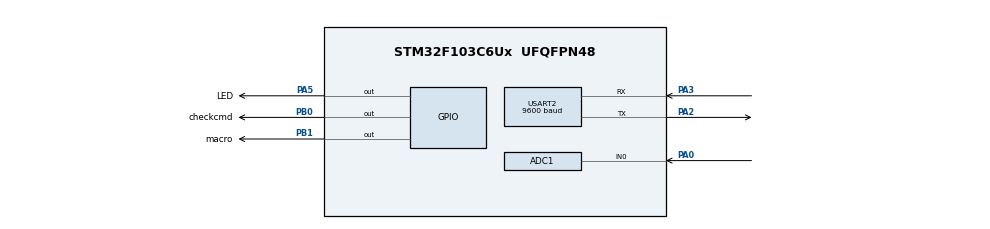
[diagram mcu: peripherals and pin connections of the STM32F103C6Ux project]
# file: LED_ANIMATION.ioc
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ADC1.Channel-0\#ChannelRegularConversion=ADC_CHANNEL_0
ADC1.ContinuousConvMode=ENABLE
ADC1.NbrOfConversionFlag=1
ADC1.Rank-0\#ChannelRegularConversion=1
ADC1.SamplingTime-0\#ChannelRegularConversion=ADC_SAMPLETIME_1CYCLE_5
ADC1.master=1
Mcu.Family=STM32F1
Mcu.Name=STM32F103C6Ux
Mcu.Package=UFQFPN48
NVIC.PriorityGroup=NVIC_PRIORITYGROUP_4
NVIC.TIM2_IRQn=true\:0\:0\:false\:false\:true\:true\:true
NVIC.USART2_IRQn=true\:0\:0\:false\:false\:true\:true\:true
PA0-WKUP.Signal=ADCx_IN0
PA2.Mode=Asynchronous
PA2.Signal=USART2_TX
PA3.Mode=Asynchronous
PA3.Signal=USART2_RX
PA5.GPIO_Label=LED
PA5.Signal=GPIO_Output
PB0.GPIO_Label=checkcmd
PB0.Signal=GPIO_Output
PB1.GPIO_Label=macro
PB1.Signal=GPIO_Output
ProjectManager.HeapSize=0x200
ProjectManager.StackSize=0x400
ProjectManager.TargetToolchain=STM32CubeIDE
RCC.APB1Freq_Value=8000000
RCC.APB2Freq_Value=8000000
SH.ADCx_IN0.0=ADC1_IN0,IN0
TIM2.Period=9
TIM2.Prescaler=7999
USART2.BaudRate=9600
USART2.VirtualMode=VM_ASYNC
VP_SYS_VS_ND.Mode=No_Debug
VP_TIM2_VS_ClockSourceINT.Mode=Internal
board=custom

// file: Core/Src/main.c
/* USER CODE BEGIN Header */
/**
  ******************************************************************************
  * @file           : main.c
  * @brief          : Main program body
  ******************************************************************************
  * @attention
  *
  * <h2><center>&copy; Copyright (c) 2023 STMicroelectronics.
  * All rights reserved.</center></h2>
  *
  * This software component is licensed by ST under BSD 3-Clause license,
  * the "License"; You may not use this file except in compliance with the
  * License. You may obtain a copy of the License at:
  *                        opensource.org/licenses/BSD-3-Clause
  *
  ******************************************************************************
  */
/* USER CODE END Header */
#include "main.h"

/* USER CODE BEGIN Includes */
//#include "input_reading.h"
#include "scheduler.h"
#include "fsm.h"
#include <stdio.h>
//#include "button.h"
#include "global.h"
#include "timer.h"
/* USER CODE END Includes */

ADC_HandleTypeDef hadc1;

TIM_HandleTypeDef htim2;

UART_HandleTypeDef huart2;

void SystemClock_Config(void);
static void MX_GPIO_Init(void);
static void MX_TIM2_Init(void);
static void MX_USART2_UART_Init(void);
static void MX_ADC1_Init(void);

/* USER CODE BEGIN 0 */

//void button(){
//	getKeyInput();
//	if(is_Pressed()){
//		HAL_GPIO_TogglePin(GPIOA, LED_BUTTON_Pin);
//	}
//}
//
//void led0_5s(){
//	HAL_GPIO_TogglePin(GPIOB, normal_Pin);
//}
//
//void led1s(){
//	HAL_GPIO_TogglePin(GPIOA, LED_1S_Pin);
//}
//
//void led1_5s(){
//	HAL_GPIO_TogglePin(GPIOA, LED_1_5S_Pin);
//}
//
//void led2s(){
//	HAL_GPIO_TogglePin(GPIOA, LED_2S_Pin);
//}
//
//void led2_5s(){
//	HAL_GPIO_WritePin(GPIOA, LED_2_5S_ONESHOT_Pin, 0);
//}

void fsm(){
	if(isFlag()){
		HAL_GPIO_TogglePin(GPIOA, LED_Pin);
		command_parsel_fsm();
		resetFlag();
	}
	uart_communiation_fsm();
}

/* USER CODE END 0 */

int main(void)
{

  /* MCU Configuration--------------------------------------------------------*/

  /* Reset of all peripherals, Initializes the Flash interface and the Systick. */
  HAL_Init();

  /* Configure the system clock */
  SystemClock_Config();

  /* Initialize all configured peripherals */
  MX_GPIO_Init();
  MX_TIM2_Init();
  MX_USART2_UART_Init();
  MX_ADC1_Init();
  /* USER CODE BEGIN 2 */
  HAL_TIM_Base_Start_IT(&htim2);
  /* USER CODE END 2 */

  /* Infinite loop */
  /* USER CODE BEGIN WHILE */
  HAL_UART_Receive_IT(&huart2, &temp, 1);
  HAL_GPIO_WritePin(GPIOA, LED_Pin, 1);

  SCH_Add_Task(command_parsel_fsm, 0, 10);
  SCH_Add_Task(uart_communiation_fsm, 0, 12);
  while (1){
	  SCH_Dispatch_Tasks();

    /* USER CODE END WHILE */

  }
}

void SystemClock_Config(void)
{
  RCC_OscInitTypeDef RCC_OscInitStruct = {0};
  RCC_ClkInitTypeDef RCC_ClkInitStruct = {0};
  RCC_PeriphCLKInitTypeDef PeriphClkInit = {0};

  /** Initializes the RCC Oscillators according to the specified parameters
  * in the RCC_OscInitTypeDef structure.
  */
  RCC_OscInitStruct.OscillatorType = RCC_OSCILLATORTYPE_HSI;
  RCC_OscInitStruct.HSIState = RCC_HSI_ON;
  RCC_OscInitStruct.HSICalibrationValue = RCC_HSICALIBRATION_DEFAULT;
  RCC_OscInitStruct.PLL.PLLState = RCC_PLL_NONE;
  if (HAL_RCC_OscConfig(&RCC_OscInitStruct) != HAL_OK)
  {
    Error_Handler();
  }
  /** Initializes the CPU, AHB and APB buses clocks
  */
  RCC_ClkInitStruct.ClockType = RCC_CLOCKTYPE_HCLK|RCC_CLOCKTYPE_SYSCLK
                              |RCC_CLOCKTYPE_PCLK1|RCC_CLOCKTYPE_PCLK2;
  RCC_ClkInitStruct.SYSCLKSource = RCC_SYSCLKSOURCE_HSI;
  RCC_ClkInitStruct.AHBCLKDivider = RCC_SYSCLK_DIV1;
  RCC_ClkInitStruct.APB1CLKDivider = RCC_HCLK_DIV1;
  RCC_ClkInitStruct.APB2CLKDivider = RCC_HCLK_DIV1;

  if (HAL_RCC_ClockConfig(&RCC_ClkInitStruct, FLASH_LATENCY_0) != HAL_OK)
  {
    Error_Handler();
  }
  PeriphClkInit.PeriphClockSelection = RCC_PERIPHCLK_ADC;
  PeriphClkInit.AdcClockSelection = RCC_ADCPCLK2_DIV2;
  if (HAL_RCCEx_PeriphCLKConfig(&PeriphClkInit) != HAL_OK)
  {
    Error_Handler();
  }
}

static void MX_ADC1_Init(void)
{

  ADC_ChannelConfTypeDef sConfig = {0};

  /** Common config
  */
  hadc1.Instance = ADC1;
  hadc1.Init.ScanConvMode = ADC_SCAN_DISABLE;
  hadc1.Init.ContinuousConvMode = ENABLE;
  hadc1.Init.DiscontinuousConvMode = DISABLE;
  hadc1.Init.ExternalTrigConv = ADC_SOFTWARE_START;
  hadc1.Init.DataAlign = ADC_DATAALIGN_RIGHT;
  hadc1.Init.NbrOfConversion = 1;
  if (HAL_ADC_Init(&hadc1) != HAL_OK)
  {
    Error_Handler();
  }
  /** Configure Regular Channel
  */
  sConfig.Channel = ADC_CHANNEL_0;
  sConfig.Rank = ADC_REGULAR_RANK_1;
  sConfig.SamplingTime = ADC_SAMPLETIME_1CYCLE_5;
  if (HAL_ADC_ConfigChannel(&hadc1, &sConfig) != HAL_OK)
  {
    Error_Handler();
  }

}

static void MX_TIM2_Init(void)
{

  TIM_ClockConfigTypeDef sClockSourceConfig = {0};
  TIM_MasterConfigTypeDef sMasterConfig = {0};

  htim2.Instance = TIM2;
  htim2.Init.Prescaler = 7999;
  htim2.Init.CounterMode = TIM_COUNTERMODE_UP;
  htim2.Init.Period = 9;
  htim2.Init.ClockDivision = TIM_CLOCKDIVISION_DIV1;
  htim2.Init.AutoReloadPreload = TIM_AUTORELOAD_PRELOAD_DISABLE;
  if (HAL_TIM_Base_Init(&htim2) != HAL_OK)
  {
    Error_Handler();
  }
  sClockSourceConfig.ClockSource = TIM_CLOCKSOURCE_INTERNAL;
  if (HAL_TIM_ConfigClockSource(&htim2, &sClockSourceConfig) != HAL_OK)
  {
    Error_Handler();
  }
  sMasterConfig.MasterOutputTrigger = TIM_TRGO_RESET;
  sMasterConfig.MasterSlaveMode = TIM_MASTERSLAVEMODE_DISABLE;
  if (HAL_TIMEx_MasterConfigSynchronization(&htim2, &sMasterConfig) != HAL_OK)
  {
    Error_Handler();
  }

}

static void MX_USART2_UART_Init(void)
{

  huart2.Instance = USART2;
  huart2.Init.BaudRate = 9600;
  huart2.Init.WordLength = UART_WORDLENGTH_8B;
  huart2.Init.StopBits = UART_STOPBITS_1;
  huart2.Init.Parity = UART_PARITY_NONE;
  huart2.Init.Mode = UART_MODE_TX_RX;
  huart2.Init.HwFlowCtl = UART_HWCONTROL_NONE;
  huart2.Init.OverSampling = UART_OVERSAMPLING_16;
  if (HAL_UART_Init(&huart2) != HAL_OK)
  {
    Error_Handler();
  }

}

static void MX_GPIO_Init(void)
{
  GPIO_InitTypeDef GPIO_InitStruct = {0};

  /* GPIO Ports Clock Enable */
  __HAL_RCC_GPIOA_CLK_ENABLE();
  __HAL_RCC_GPIOB_CLK_ENABLE();

  /*Configure GPIO pin Output Level */
  HAL_GPIO_WritePin(LED_GPIO_Port, LED_Pin, GPIO_PIN_RESET);

  /*Configure GPIO pin Output Level */
  HAL_GPIO_WritePin(GPIOB, checkcmd_Pin|macro_Pin, GPIO_PIN_RESET);

  /*Configure GPIO pin : LED_Pin */
  GPIO_InitStruct.Pin = LED_Pin;
  GPIO_InitStruct.Mode = GPIO_MODE_OUTPUT_PP;
  GPIO_InitStruct.Pull = GPIO_NOPULL;
  GPIO_InitStruct.Speed = GPIO_SPEED_FREQ_LOW;
  HAL_GPIO_Init(LED_GPIO_Port, &GPIO_InitStruct);

  /*Configure GPIO pins : checkcmd_Pin macro_Pin */
  GPIO_InitStruct.Pin = checkcmd_Pin|macro_Pin;
  GPIO_InitStruct.Mode = GPIO_MODE_OUTPUT_PP;
  GPIO_InitStruct.Pull = GPIO_NOPULL;
  GPIO_InitStruct.Speed = GPIO_SPEED_FREQ_LOW;
  HAL_GPIO_Init(GPIOB, &GPIO_InitStruct);

}

/* USER CODE BEGIN 4 */
//  int counter = 500;
//  void HAL_TIM_PeriodElapsedCallback(TIM_HandleTypeDef *htim){
//	  --counter;
//	  if(counter <= 0){
//		  counter = 500;
//		  HAL_GPIO_TogglePin(GPIOA, LED_Pin);
//	  }
//  }

void HAL_TIM_PeriodElapsedCallback(TIM_HandleTypeDef *htim){
	if(htim->Instance == htim2.Instance) SCH_Update();
//	timerRun();
//	timerRun(1);
//	timerRun(2);
//	getKeyInput(BUTTON1, BUTTON1_Pin);
//	getKeyInput(BUTTON2, BUTTON2_Pin);
//	getKeyInput(BUTTON3, BUTTON3_Pin);
	//if(htim->Instance == TIM2) {
	//		  button_reading () ;
	//}
	//	  timerRun(LED);
	//	  timerRun(SEG);
	//	  timerRun(MATRIX);
}

/* USER CODE END 4 */

void Error_Handler(void)
{
  __disable_irq();
  while (1)
  {
  }
}

/************************ (C) COPYRIGHT STMicroelectronics *****END OF FILE****/
